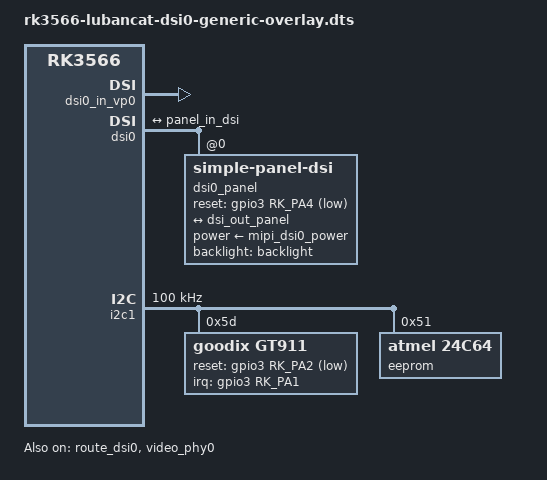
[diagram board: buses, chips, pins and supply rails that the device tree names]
/dts-v1/;
/plugin/;

#include <dt-bindings/gpio/gpio.h>
#include <dt-bindings/pinctrl/rockchip.h>
#include <dt-bindings/display/drm_mipi_dsi.h>
#include <dt-bindings/interrupt-controller/irq.h>

/ {
	compatible = "rockchip,rk3566";

	fragment@0 {
		target = <&route_dsi0>;

		__overlay__ {
			status = "okay";
			connect = <&vp0_out_dsi0>;
		};
	};

	fragment@1 {
		target = <&video_phy0>;

		__overlay__ {
			status = "okay";
		};
	};

	fragment@2 {
		target = <&dsi0_in_vp0>;

		__overlay__ {
			status = "okay";
		};
	};

	fragment@3 {
		target = <&dsi0_in_vp1>;

		__overlay__ {
			status = "disabled";
		};
	};

	fragment@4 {
		target = <&dsi0>;

		__overlay__ {
			status = "okay";
			#address-cells = <1>;
			#size-cells = <0>;

			dsi0_panel: panel@0 {
				compatible = "simple-panel-dsi";
				reg = <0>;
				backlight = <&backlight>;
				reset-gpios = <&gpio3 RK_PA4 GPIO_ACTIVE_LOW>;
				power-supply = <&mipi_dsi0_power>;
				enable-delay-ms = <35>;
				prepare-delay-ms = <6>;
				reset-delay-ms = <0>;
				init-delay-ms = <20>;
				unprepare-delay-ms = <0>;
				disable-delay-ms = <20>;

				size,width = <74>;
				size,height = <133>;

				dsi,flags = <(MIPI_DSI_MODE_VIDEO | MIPI_DSI_MODE_VIDEO_BURST | MIPI_DSI_MODE_LPM | MIPI_DSI_MODE_EOT_PACKET)>;
				dsi,format = <MIPI_DSI_FMT_RGB888>;
				dsi,lanes  = <4>;

				nvmem = <&eeprom0>;
				nvmem-names = "eeprom";

				ports {
					#address-cells = <1>;
					#size-cells = <0>;
					port@0 {
						reg = <0>;
						panel_in_dsi: endpoint {
							remote-endpoint = <&dsi_out_panel>;
						};
					};
				};
			};

			ports {
				#address-cells = <1>;
				#size-cells = <0>;

				port@1 {
					reg = <1>;
					dsi_out_panel: endpoint {
						remote-endpoint = <&panel_in_dsi>;
					};
				};
			};
		};
	};

	fragment@5 {
		target = <&i2c1>;

		__overlay__ {
			status = "okay";
			clock-frequency = <100000>;
			#address-cells = <1>;
			#size-cells = <0>;

			gt911: gt911@5d {
				status = "okay";
				compatible = "goodix,gt911";
				reg = <0x5d>;
				interrupt-parent = <&gpio3>;
				interrupts = <RK_PA1 IRQ_TYPE_LEVEL_LOW>;
				reset-gpios = <&gpio3 RK_PA2 GPIO_ACTIVE_LOW>;
				irq-gpios = <&gpio3 RK_PA1 GPIO_ACTIVE_HIGH>;

				nvmem = <&eeprom0>;
				nvmem-names = "eeprom";
			};

			eeprom0: eeprom@51 {
				compatible = "atmel,24c64";
				reg = <0x51>;
				label = "eeprom";
			};
		};
	};

	fragment@6 {
		target = <&route_hdmi>;

		__overlay__ {
			status = "disabled";
		};
	};

	fragment@7 {
		target = <&hdmi_in_vp0>;

		__overlay__ {
			status = "disabled";
		};
	};

	fragment@8 {
		target = <&hdmi_in_vp1>;

		__overlay__ {
			status = "disabled";
		};
	};

	fragment@9 {
		target = <&hdmi>;

		__overlay__ {
			status = "disabled";
		};
	};
};
